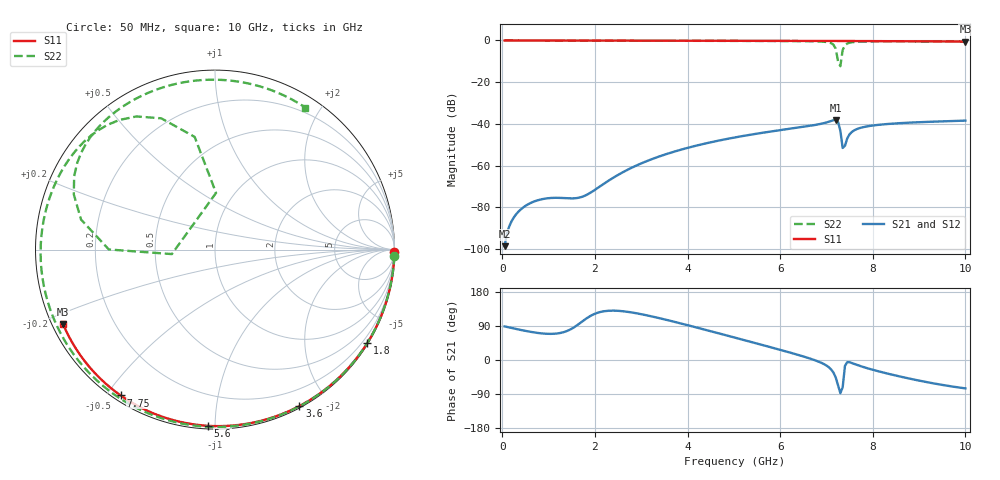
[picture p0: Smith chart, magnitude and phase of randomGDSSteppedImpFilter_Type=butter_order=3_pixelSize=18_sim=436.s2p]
! freq	dB(S11)	phase(S11)	dB(S12)	phase(S12)
!  dB(S21)	phase(S21)	dB(S22)	phase(S22)
!S-par simulation data
#  GHz  S  DB  R 50
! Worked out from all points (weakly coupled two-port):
!   200 points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, 50 MHz to 10 GHz, reference 50 ohm
!   highest |S21| = -38.06 dB at 7.2 GHz (marker M1); lowest = -98.5 dB at 50 MHz (marker M2)
!   lowest |S11| = -0.5 dB at 10 GHz (marker M3), VSWR 33.86, Z = 1.56 - j11.6 ohm
!   |S11| at or under -10 dB: nowhere
!   |S22| runs from -12.3 to 0.0 dB; largest |S21 - S12| = 0
!   S11 on the Smith chart (normalised r, x): 50 MHz: open; 1.8 GHz: 0.03, -3.53; 3.6 GHz: 0.02, -1.68; 5.6 GHz: 0.02, -0.96; 7.75 GHz: 0.02, -0.54; 10 GHz: 0.03, -0.23
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0.05  -0.00 -0.9  -98.54 88.6  -98.54 88.6  -0.00 -2.0
0.45  -0.01 -8.0  -80.01 78.0  -80.01 78.0  -0.02 -17.4
0.8  -0.02 -14.2  -76.33 70.9  -76.33 70.9  -0.04 -30.6
1.75  -0.04 -30.8  -74.67 103.8  -74.67 103.8  -0.08 -65.1
1.8  -0.04 -31.7  -74.19 108.2  -74.19 108.2  -0.08 -66.8
2.55  -0.06 -44.4  -63.76 129.3  -63.76 129.3  -0.11 -91.8
3.4  -0.08 -58.4  -55.48 110.2  -55.48 110.2  -0.14 -117.8
3.6  -0.08 -61.6  -54.02 104.3  -54.02 104.3  -0.14 -123.7
5.05  -0.13 -84.2  -46.34 58.2  -46.34 58.2  -0.21 -164.0
5.6  -0.15 -92.4  -44.29 40.2  -44.29 40.2  -0.25 -179.0
6.7  -0.21 -108.2  -40.69 1.6  -40.69 1.6  -0.40 146.9
7.05  -0.23 -113.1  -38.95 -19.0  -38.95 -19.0  -0.94 126.4
7.15  -0.24 -114.5  -38.21 -33.1  -38.21 -33.1  -2.04 112.3
7.2  -0.24 -115.2  -38.06 -46.0  -38.06 -46.0  -3.90 100.2
7.25  -0.25 -115.9  -39.02 -66.3  -39.02 -66.3  -10.01 88.9
7.3  -0.25 -116.6  -43.25 -87.4  -43.25 -87.4  -12.34 -174.1
7.35  -0.25 -117.3  -51.51 -72.1  -51.51 -72.1  -4.56 179.9
7.45  -0.26 -118.7  -46.82 -5.5  -46.82 -5.5  -1.47 158.7
7.75  -0.28 -122.9  -41.77 -16.7  -41.77 -16.7  -0.55 135.6
8.35  -0.34 -131.1  -39.96 -36.8  -39.96 -36.8  -0.45 112.8
9.2  -0.42 -142.8  -38.99 -59.2  -38.99 -59.2  -0.49 84.7
10  -0.51 -153.9  -38.39 -74.9  -38.39 -74.9  -0.56 57.5
